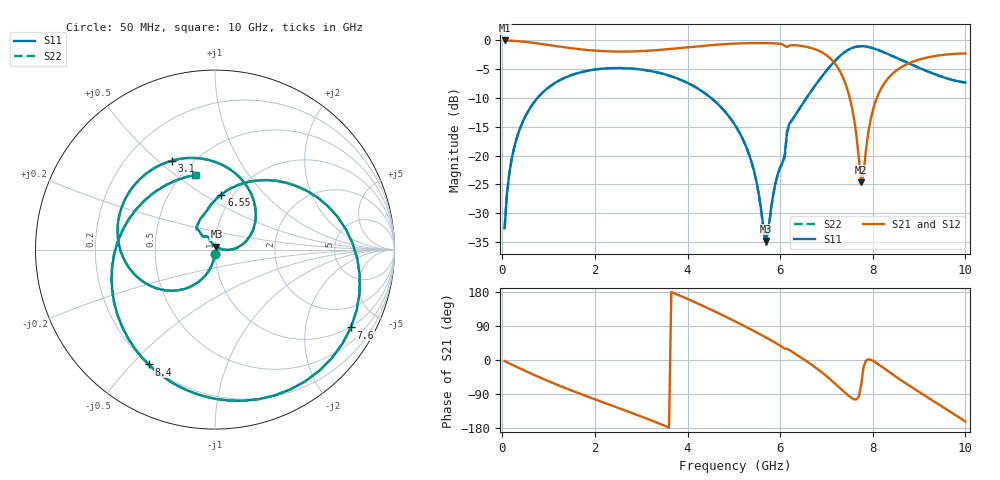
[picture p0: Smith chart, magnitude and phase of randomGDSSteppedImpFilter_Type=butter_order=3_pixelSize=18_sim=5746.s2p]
! freq	dB(S11)	phase(S11)	dB(S12)	phase(S12)
!  dB(S21)	phase(S21)	dB(S22)	phase(S22)
!S-par simulation data
#  GHz  S  DB  R 50
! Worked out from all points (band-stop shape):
!   200 points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, 50 MHz to 10 GHz, reference 50 ohm
!   highest |S21| = -0.01 dB at 50 MHz (marker M1); lowest = -24.7 dB at 7.75 GHz (marker M2)
!   |S21| within 3 dB of the highest: start of sweep to 7.066 GHz; 9.16 GHz to end of sweep
!   lowest |S11| = -34.9 dB at 5.7 GHz (marker M3), VSWR 1.04, Z = 50.8 + j1.64 ohm
!   |S11| at or under -10 dB: start of sweep to 760.4 MHz; 4.508 GHz to 6.568 GHz (2.059 GHz wide, 37.2 % of centre)
!   |S22| runs from -35.8 to -1.0 dB; largest |S21 - S12| = 0
!   S11 on the Smith chart (normalised r, x): 50 MHz: 1.00, -0.05; 3.1 GHz: 0.39, +0.55; 6.55 GHz: 0.88, +0.60; 7.6 GHz: 0.97, -3.51; 8.4 GHz: 0.20, -0.56; 10 GHz: 0.58, +0.59
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0.05  -32.66 -93.0  -0.01 -3.0  -0.01 -3.0  -32.66 -93.0
0.2  -20.73 -102.2  -0.06 -11.8  -0.06 -11.8  -20.73 -102.2
0.5  -13.16 -119.5  -0.25 -29.0  -0.25 -29.0  -13.16 -119.5
1.1  -7.59 -151.7  -0.91 -61.1  -0.91 -61.1  -7.59 -151.7
1.75  -5.43 177.1  -1.60 -92.4  -1.60 -92.4  -5.43 177.1
3.1  -5.18 116.1  -1.81 -153.7  -1.81 -153.7  -5.18 116.0
3.4  -5.66 101.9  -1.64 -168.1  -1.64 -168.1  -5.66 101.8
4.25  -8.50 58.5  -1.00 147.5  -1.00 147.5  -8.50 58.3
5.05  -15.03 15.0  -0.54 100.7  -0.54 100.7  -15.04 14.4
5.45  -23.15 -0.8  -0.46 75.5  -0.46 75.5  -23.20 -2.4
5.7  -34.86 63.5  -0.47 59.1  -0.47 59.1  -35.75 63.7
6.15  -15.76 129.5  -1.15 29.2  -1.15 29.2  -16.05 131.7
6.55  -10.21 83.4  -1.09 -1.5  -1.09 -1.5  -10.22 84.0
6.7  -8.46 71.0  -1.39 -14.3  -1.39 -14.3  -8.47 71.4
7.15  -3.84 26.6  -3.70 -58.3  -3.70 -58.3  -3.85 26.7
7.6  -1.18 -29.8  -13.83 -103.8  -13.83 -103.8  -1.19 -30.0
7.75  -1.00 -49.2  -24.68 -65.7  -24.68 -65.7  -1.01 -49.4
8  -1.34 -79.2  -12.19 -2.0  -12.19 -2.0  -1.34 -79.6
8.35  -2.45 -115.3  -6.41 -31.3  -6.41 -31.3  -2.45 -115.8
8.4  -2.63 -120.0  -5.98 -35.6  -5.98 -35.6  -2.63 -120.5
9.2  -5.43 172.3  -2.94 -99.8  -2.94 -99.8  -5.43 171.4
10  -7.32 105.3  -2.27 -162.3  -2.27 -162.3  -7.31 104.1
